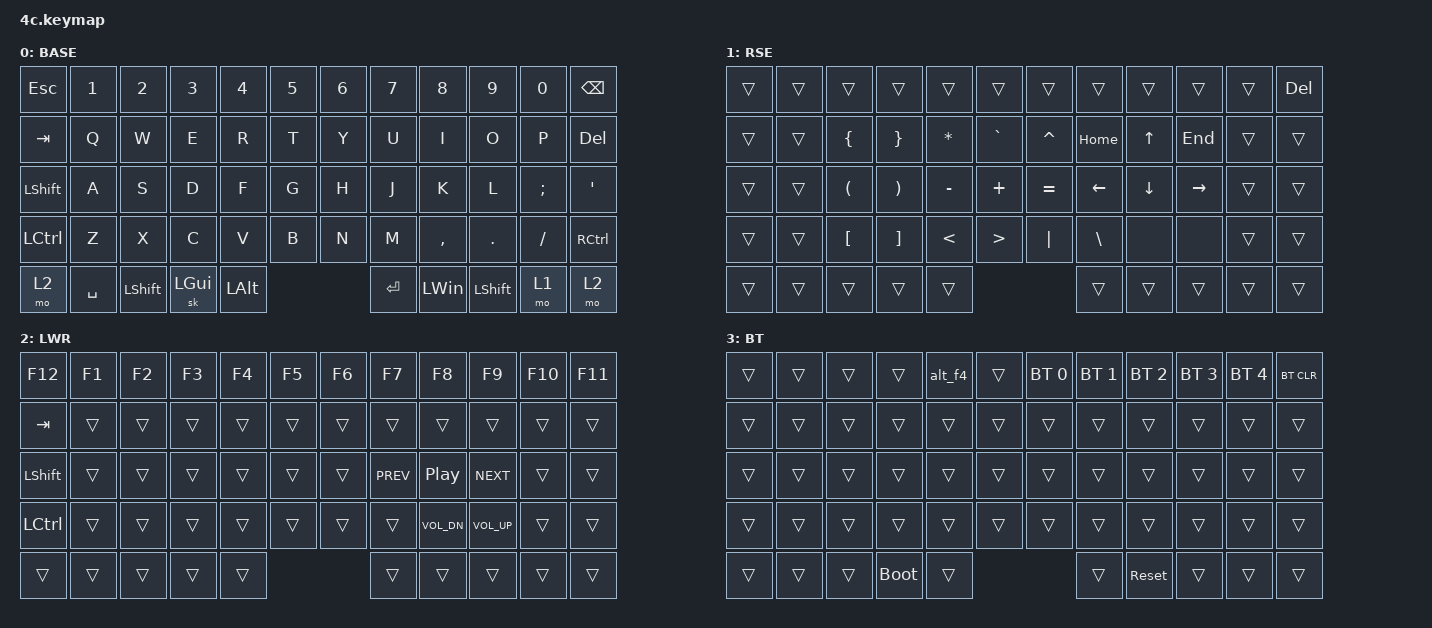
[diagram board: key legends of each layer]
/*
 * Copyright (c) 2020 The ZMK Contributors
 *
 * SPDX-License-Identifier: MIT
 */
/* THIS FILE WAS GENERATED!
 *
 * This file was generated automatically. You may or may not want to
 * edit it directly.
 */

#include <behaviors.dtsi>
#include <dt-bindings/zmk/bt.h>
#include <dt-bindings/zmk/keys.h>

/ {
    combos {
        compatible = "zmk,combos";

        btMo {
            bindings = <&mo 3>;
            key-positions = <56 57>;
        };
    };

    macros {
        codeFence: codeFence {
            compatible = "zmk,behavior-macro";
            label = "new_macro";
            #binding-cells = <0>;
            bindings =
                <&kp GRAVE &kp GRAVE &kp GRAVE &kp RET &kp RET &kp GRAVE &kp GRAVE &kp GRAVE &kp UP>,
                <&macro_press>;
        };

        alt_f4: alt_f4 {
            compatible = "zmk,behavior-macro";
            label = "ALT_F4";
            #binding-cells = <0>;
            bindings = <&kp LALT &kp F4>;
        };

        de_ae_cap: de_ae_cap {
            compatible = "zmk,behavior-macro";
            #binding-cells = <0>;
            bindings =
                <&kt LEFT_ALT &kp KP_NUMBER_1 &kp KP_NUMBER_4 &kp KP_NUMBER_2 &kt LALT>,
                <&macro_press>;

            label = "DE_AE_CAP";
        };

        de_ae: de_ae {
            compatible = "zmk,behavior-macro";
            #binding-cells = <0>;
            bindings =
                <&kt LEFT_ALT &kp KP_NUMBER_1 &kp KP_NUMBER_3 &kp KP_NUMBER_2 &kt LALT>,
                <&macro_press>;

            label = "DE_AE";
        };

        de_ue_cap: de_ue_cap {
            compatible = "zmk,behavior-macro";
            #binding-cells = <0>;
            bindings =
                <&kt LEFT_ALT &kp KP_NUMBER_1 &kp KP_NUMBER_5 &kp KP_NUMBER_4 &kt LALT>,
                <&macro_press>;

            label = "DE_UE_CAP";
        };

        de_ue: de_ue {
            compatible = "zmk,behavior-macro";
            #binding-cells = <0>;
            bindings =
                <&kt LEFT_ALT &kp KP_NUMBER_1 &kp KP_NUMBER_2 &kp KP_NUMBER_9 &kt LALT>,
                <&macro_press>;

            label = "DE_UE";
        };

        de_oe_cap: de_oe_cap {
            compatible = "zmk,behavior-macro";
            #binding-cells = <0>;
            bindings =
                <&kt LEFT_ALT &kp KP_NUMBER_1 &kp KP_NUMBER_5 &kp KP_NUMBER_3 &kt LALT>,
                <&macro_press>;

            label = "DE_OE_CAP";
        };

        de_oe: de_oe {
            compatible = "zmk,behavior-macro";
            #binding-cells = <0>;
            bindings =
                <&kt LEFT_ALT &kp KP_NUMBER_1 &kp KP_NUMBER_4 &kp KP_NUMBER_8 &kt LALT>,
                <&macro_press>;

            label = "DE_OE";
        };
    };

    behaviors {
        a_ae: a_ae {
            compatible = "zmk,behavior-hold-tap";
            label = "A_AE";
            bindings = <&de_ae>, <&kp>;

            #binding-cells = <2>;
            tapping-term-ms = <10>;
            flavor = "tap-preferred";
        };

        u_ue: u_ue {
            compatible = "zmk,behavior-hold-tap";
            label = "U_UE";
            bindings = <&de_ue>, <&kp>;

            #binding-cells = <2>;
            tapping-term-ms = <10>;
            flavor = "tap-preferred";
        };

        o_oe: o_oe {
            compatible = "zmk,behavior-hold-tap";
            label = "O_OE";
            bindings = <&de_oe>, <&kp>;

            #binding-cells = <2>;
            tapping-term-ms = <10>;
            flavor = "tap-preferred";
        };
    };

    keymap {
        compatible = "zmk,keymap";

        BASE {
            bindings = <
&kp ESC         &kp NUMBER_1  &kp NUMBER_2  &kp NUMBER_3  &kp NUMBER_4  &kp NUMBER_5    &kp NUMBER_6  &kp NUMBER_7  &kp NUMBER_8  &kp NUMBER_9  &kp NUMBER_0  &kp BACKSPACE
&kp TAB         &kp Q         &kp W         &kp E         &kp R         &kp T           &kp Y         &kp U         &kp I         &kp O         &kp P         &kp DEL
&kp LEFT_SHIFT  &kp A         &kp S         &kp D         &kp F         &kp G           &kp H         &kp J         &kp K         &kp L         &kp SEMI      &kp APOS
&kp LCTRL       &kp Z         &kp X         &kp C         &kp V         &kp B           &kp N         &kp M         &kp COMMA     &kp PERIOD    &kp SLASH     &kp RCTRL
&mo 2           &kp SPACE     &kp LSHFT     &sk LGUI      &kp LALT                                    &kp ENTER     &kp LEFT_WIN  &kp LSHFT     &mo 1         &mo 2
            >;
        };

        RSE {
            bindings = <
&trans  &trans  &trans                &trans                 &trans         &trans              &trans     &trans          &trans    &trans     &trans  &kp DELETE
&trans  &trans  &kp LEFT_BRACE        &kp RIGHT_BRACE        &kp ASTERISK   &kp GRAVE           &kp CARET  &kp HOME        &kp UP    &kp END    &trans  &trans
&trans  &trans  &kp LEFT_PARENTHESIS  &kp RIGHT_PARENTHESIS  &kp MINUS      &kp PLUS            &kp EQUAL  &kp LEFT_ARROW  &kp DOWN  &kp RIGHT  &trans  &trans
&trans  &trans  &kp LBKT              &kp RBKT               &kp LESS_THAN  &kp GREATER_THAN    &kp PIPE   &kp BACKSLASH   &none     &none      &trans  &trans
&trans  &trans  &trans                &trans                 &trans                                        &trans          &trans    &trans     &trans  &trans
            >;
        };

        LWR {
            bindings = <
&kp F12         &kp F1  &kp F2  &kp F3  &kp F4  &kp F5    &kp F6  &kp F7      &kp F8            &kp F9        &kp F10  &kp F11
&kp TAB         &trans  &trans  &trans  &trans  &trans    &trans  &trans      &trans            &trans        &trans   &trans
&kp LEFT_SHIFT  &trans  &trans  &trans  &trans  &trans    &trans  &kp C_PREV  &kp C_PLAY_PAUSE  &kp C_NEXT    &trans   &trans
&kp LCTRL       &trans  &trans  &trans  &trans  &trans    &trans  &trans      &kp C_VOL_DN      &kp C_VOL_UP  &trans   &trans
&trans          &trans  &trans  &trans  &trans                    &trans      &trans            &trans        &trans   &trans
            >;
        };

        BT {
            bindings = <
&trans  &trans  &trans  &trans       &alt_f4  &trans    &bt BT_SEL 0  &bt BT_SEL 1  &bt BT_SEL 2  &bt BT_SEL 3  &bt BT_SEL 4  &bt BT_CLR
&trans  &trans  &trans  &trans       &trans   &trans    &trans        &trans        &trans        &trans        &trans        &trans
&trans  &trans  &trans  &trans       &trans   &trans    &trans        &trans        &trans        &trans        &trans        &trans
&trans  &trans  &trans  &trans       &trans   &trans    &trans        &trans        &trans        &trans        &trans        &trans
&trans  &trans  &trans  &bootloader  &trans                           &trans        &sys_reset    &trans        &trans        &trans
            >;
        };
    };
};
